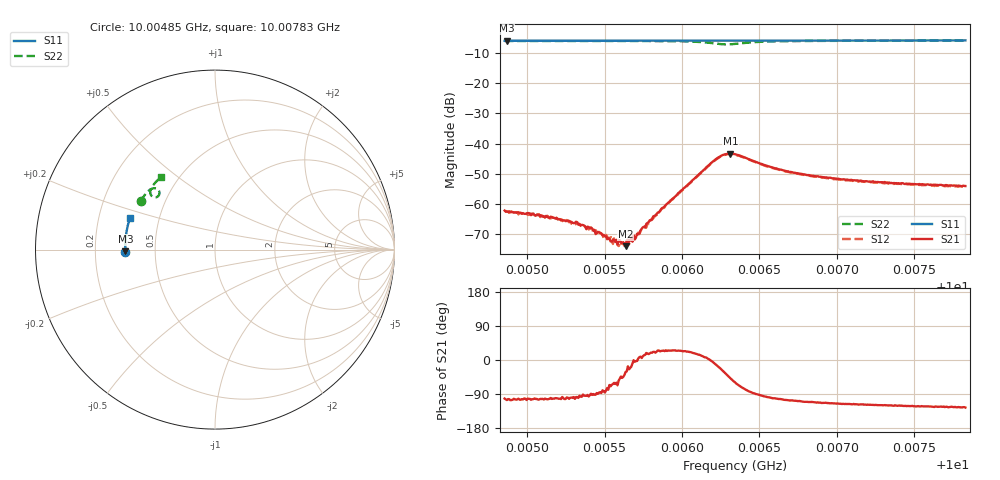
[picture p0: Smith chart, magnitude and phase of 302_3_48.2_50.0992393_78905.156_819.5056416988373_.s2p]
#  HZ  S  RI  R  50.00
! Rohde & Schwarz Vector Network Analyzer
! Rohde-Schwarz,ZNB20-2Port,1311601062101988,3.16
! Created: UTC 3/20/2024, 11:49:38 AM
! freq[Hz]  re:S11  im:S11  re:S21  im:S21  re:S12  im:S12  re:S22  im:S22
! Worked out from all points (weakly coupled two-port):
!   401 points, 10.00485 GHz to 10.00783 GHz, reference 50 ohm
!   highest |S21| = -43.30 dB at 10.00631 GHz (marker M1); lowest = -73.9 dB at 10.00564 GHz (marker M2)
!   lowest |S11| = -6.0 dB at 10.00487 GHz (marker M3), VSWR 2.99, Z = 16.7 - j0.471 ohm
!   |S11| at or under -10 dB: nowhere
!   |S22| runs from -7.2 to -6.0 dB; largest |S21 - S12| = 0.00036
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1.0004854e10  -0.4992 -0.0115  -0.00016 -0.000767  -0.000125 -0.000737  -0.414 0.2693
1.0004869e10  -0.4991 -0.0106  -0.000205 -0.000725  -0.000134 -0.00074  -0.4137 0.2703
1.0005122e10  -0.4998 0.00581  -0.000144 -0.000623  -0.000133 -0.000598  -0.4044 0.2852
1.0005352e10  -0.4998 0.0208  -5.41e-05 -0.000452  -5.93e-05 -0.000445  -0.3952 0.299
1.0005405e10  -0.4998 0.0242  -1.89e-05 -0.0004  -2.94e-05 -0.00039  -0.3928 0.302
1.0005442e10  -0.4998 0.0266  -8.6e-06 -0.00032  1.4e-05 -0.00037  -0.3913 0.3043
1.0005479e10  -0.4997 0.0289  1.72e-05 -0.000329  3.87e-05 -0.00032  -0.3895 0.3066
1.0005531e10  -0.4996 0.0324  0.000108 -0.000243  0.000108 -0.000246  -0.3871 0.3098
1.0005591e10  -0.4994 0.0363  0.000146 -0.000204  0.000144 -0.000143  -0.384 0.3134
1.0005635e10  -0.4993 0.0392  0.000172 -0.000107  0.000184 -0.00012  -0.3815 0.3162
1.0005643e10  -0.4993 0.0396  0.000218 -0.000126  0.000211 -9.08e-05  -0.3809 0.3168
1.000571e10  -0.4991 0.044  0.000324 -1.41e-05  0.000299 -6.06e-06  -0.3772 0.3209
1.0005739e10  -0.4989 0.0459  0.00039 3.64e-05  0.000378 7.29e-05  -0.3753 0.3228
1.0005851e10  -0.4984 0.0531  0.000662 0.000308  0.000677 0.000318  -0.3675 0.3302
1.0006201e10  -0.4956 0.0756  0.00507 -0.000527  0.00496 -0.000282  -0.3136 0.3296
1.000626e10  -0.4952 0.0793  0.00573 -0.00292  0.00572 -0.00258  -0.3104 0.3083
1.0006312e10  -0.4948 0.0823  0.00457 -0.00509  0.00469 -0.00474  -0.3242 0.2928
1.0006342e10  -0.4946 0.0843  0.00345 -0.00572  0.00362 -0.00545  -0.335 0.2907
1.0006588e10  -0.4928 0.0998  -0.000767 -0.00393  -0.000522 -0.00391  -0.3601 0.3289
1.0006841e10  -0.4897 0.1159  -0.00104 -0.00276  -0.00092 -0.00274  -0.349 0.3525
1.0007339e10  -0.4823 0.1473  -0.00113 -0.00197  -0.00103 -0.00197  -0.3243 0.3819
1.0007831e10  -0.4731 0.1775  -0.00116 -0.00162  -0.00101 -0.00165  -0.2994 0.4046
